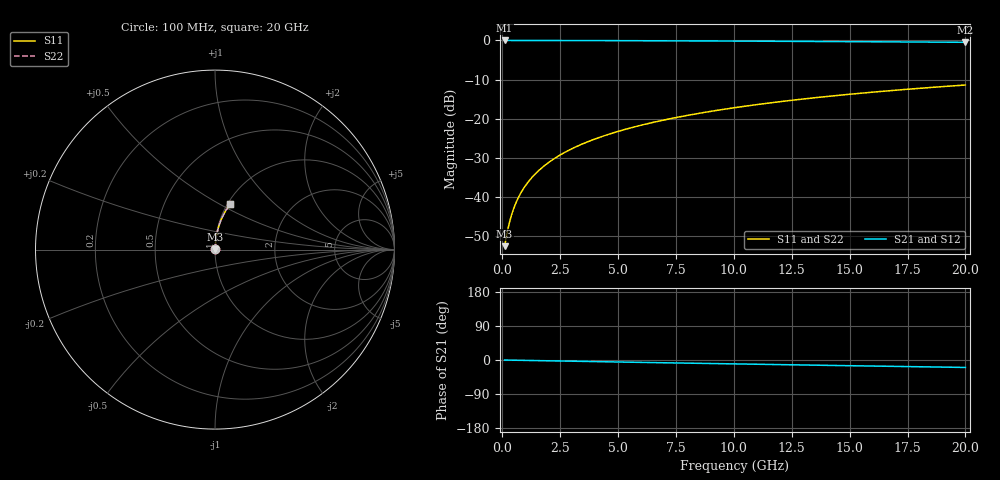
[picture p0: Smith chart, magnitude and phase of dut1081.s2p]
! Touchstone file exported from HFSS 2024.1.0
!  File:  C:/UserFiles/LocalFiles/RDL_TSV_Batchsim/temp_RDL_bottom_1081_1780053221.aedt
!  Generated:  07:16:13 PM May 29, 2026
!  Design:  RDL_bottom
!  Project:  temp_RDL_bottom_1081_1780053221
!  Setup:  Setup1
!  Solution:  Sweep
! Variables:
!  dtsv = 10.80580581um
!  hbump = 3um
!  htsv = 52.49um
!  ldown = 194.16um
!  lrdl = 100um
!  p = 40
!  p1 = 53.73um
!  rhole = 1um
!  t = 450um
!  tdown = 3.65um
!  trdl = 3.915915916um
!  wdown = 10.66um
!  wrdl = 20um
# GHz S MA R 50.000000
! Terminal data exported
! Port[1] = RDL1_T1
! Port[2] = RDL1_T2
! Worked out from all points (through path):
!   200 points, 100 MHz to 20 GHz, reference 50 ohm
!   highest |S21| = -0.02 dB at 100 MHz (marker M1); lowest = -0.5 dB at 20 GHz (marker M2)
!   group delay of S21, straight-line fit = 2.72 ps
!   lowest |S11| = -52.5 dB at 100 MHz (marker M3), VSWR 1.00, Z = 50.2 + j0.141 ohm
!   |S11| at or under -10 dB: start of sweep to end of sweep
!   |S22| runs from -52.5 to -11.4 dB; largest |S21 - S12| = 2.7e-15
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0.1  0.002364 36.6  0.9981 -0.1  0.9981 -0.1  0.002364 36.6
! Gamma 0 0 0 0
! Port Impedance 50 0 50 0
0.2  0.003404 55.7  0.9981 -0.2  0.9981 -0.2  0.003404 55.7
0.3  0.004636 65.1  0.998 -0.3  0.998 -0.3  0.004636 65.1
0.4  0.005935 70.4  0.998 -0.4  0.998 -0.4  0.005935 70.4
0.5  0.00726 73.7  0.998 -0.5  0.998 -0.5  0.00726 73.7
0.6  0.008597 76.0  0.9979 -0.7  0.9979 -0.7  0.008597 76.0
0.8  0.01129 79.0  0.9978 -0.9  0.9978 -0.9  0.01129 79.0
1.1  0.01535 81.4  0.9976 -1.2  0.9976 -1.2  0.01535 81.4
1.5  0.02079 83.0  0.9974 -1.6  0.9974 -1.6  0.02079 83.0
1.8  0.02489 83.7  0.9971 -1.9  0.9971 -1.9  0.02489 83.7
2.1  0.02899 84.2  0.9969 -2.2  0.9969 -2.2  0.02899 84.2
2.7  0.03722 84.6  0.9962 -2.9  0.9962 -2.9  0.03722 84.6
3.5  0.04823 84.7  0.9952 -3.7  0.9952 -3.7  0.04823 84.7
4.2  0.05788 84.5  0.994 -4.5  0.994 -4.5  0.05788 84.5
5  0.06893 84.1  0.9926 -5.3  0.9926 -5.3  0.06893 84.1
5.9  0.08138 83.6  0.9907 -6.2  0.9907 -6.2  0.08138 83.6
6.8  0.09383 83.0  0.9887 -7.1  0.9887 -7.1  0.09383 83.0
8.3  0.1146 81.9  0.9849 -8.6  0.9849 -8.6  0.1146 81.9
10.1  0.1393 80.4  0.9799 -10.4  0.9799 -10.4  0.1393 80.4
13.4  0.1841 77.4  0.9696 -13.6  0.9696 -13.6  0.1841 77.4
16.7  0.2276 74.4  0.9581 -16.6  0.9581 -16.6  0.2276 74.4
20  0.2695 71.4  0.9454 -19.6  0.9454 -19.6  0.2695 71.4
